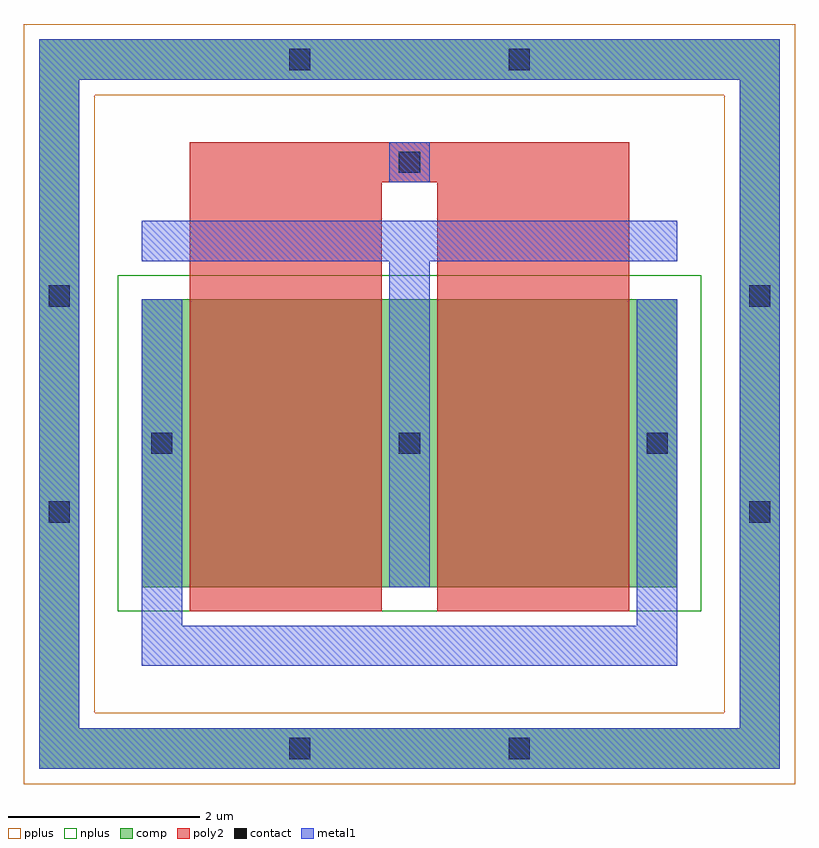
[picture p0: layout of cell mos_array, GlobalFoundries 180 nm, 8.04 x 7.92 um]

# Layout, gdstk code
import gdstk
lib = gdstk.Library(unit=1e-6, precision=5e-10)
def R(c, l, rs):  # rectangles x0, y0, x1, y1
    for r in rs: c.add(gdstk.rectangle(r[:2], r[2:], *l))
def A(c, l, x, y, w, h, nx, ny, dx, dy):  # array of equal rectangles
    R(c, l, [(x+i*dx, y+j*dy, x+i*dx+w, y+j*dy+h) for i in range(nx) for j in range(ny)])
def P(c, l, *ps):  # polygons
    for p in ps: c.add(gdstk.Polygon(p, *l))
comp = (22, 0)
poly2 = (30, 0)
pplus = (31, 0)
nplus = (32, 0)
contact = (33, 0)
metal1 = (34, 0)

mos_array = lib.new_cell('mos_array')
R(mos_array, comp, [(0,0.82,5.58,3.82)])
P(mos_array, comp, [(-1.07,-1.07),(-1.07,6.11),(-0.65,6.11),(-0.65,-0.65),(6.23,-0.65),(6.23,6.11),(-1.07,6.11),(-1.07,6.53),(6.65,6.53),(6.65,-1.07)])
R(mos_array, poly2, [(0.5,0.57,2.5,5.04), (3.08,0.57,5.08,5.04), (0.5,5.04,5.08,5.46)])
P(mos_array, pplus, [(-1.23,-1.23),(-1.23,5.95),(-0.49,5.95),(-0.49,-0.49),(6.07,-0.49),(6.07,5.95),(-1.23,5.95),(-1.23,6.69),(6.81,6.69),(6.81,-1.23)])
R(mos_array, nplus, [(-0.25,0.57,5.83,4.07)])
A(mos_array, contact, 0.1, 2.21, 0.22, 0.22, 3, 1, 2.58, 0)
R(mos_array, contact, [(1.535,-0.97,1.755,-0.75), (3.825,-0.97,4.045,-0.75), (-0.97,1.495,-0.75,1.715), (6.33,1.495,6.55,1.715), (-0.97,3.745,-0.75,3.965), (6.33,3.745,6.55,3.965), (2.68,5.14,2.9,5.36), (1.535,6.21,1.755,6.43), (3.825,6.21,4.045,6.43)])
A(mos_array, metal1, 0, 0.82, 0.42, 3, 3, 1, 2.58, 0)
R(mos_array, metal1, [(0,0,5.58,0.42), (0,0.42,0.42,0.82), (5.16,0.42,5.58,0.82), (2.58,3.82,3,4.22), (0,4.22,5.58,4.64), (2.58,5.04,3,5.46)])
P(mos_array, metal1, [(-1.07,-1.07),(-1.07,6.11),(-0.65,6.11),(-0.65,-0.65),(6.23,-0.65),(6.23,6.11),(-1.07,6.11),(-1.07,6.53),(6.65,6.53),(6.65,-1.07)])

lib.write_gds('mos_array.gds')
